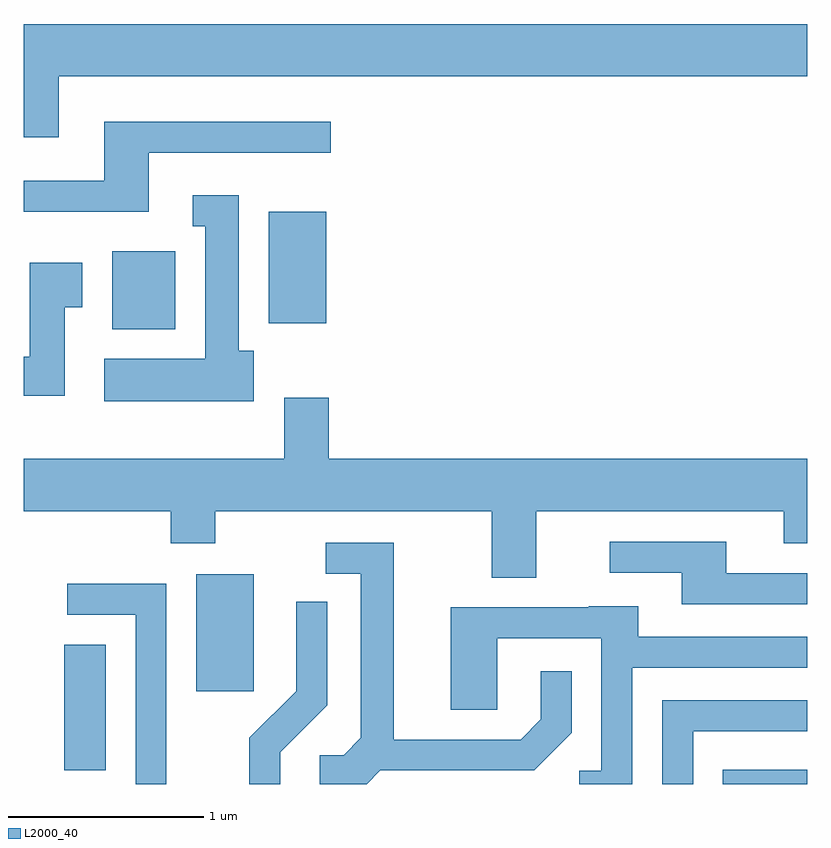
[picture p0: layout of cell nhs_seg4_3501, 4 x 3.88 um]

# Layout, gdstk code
import gdstk
lib = gdstk.Library(unit=1e-6, precision=1e-09)
def R(c, l, rs):  # rectangles x0, y0, x1, y1
    for r in rs: c.add(gdstk.rectangle(r[:2], r[2:], *l))
def P(c, l, *ps):  # polygons
    for p in ps: c.add(gdstk.Polygon(p, *l))
L2000_40 = (2000, 40)

nhs_seg4_3501 = lib.new_cell('nhs_seg4_3501')
R(nhs_seg4_3501, L2000_40, [(291.181,1319.982,291.611,1320.054), (287.816,1320.051,288.029,1320.694), (288.491,1320.456,288.784,1321.054), (288.061,1322.306,288.384,1322.704), (288.861,1322.336,289.154,1322.904)])
P(nhs_seg4_3501, L2000_40, [(287.789,1323.596),(291.611,1323.596),(291.611,1323.864),(287.611,1323.864),(287.611,1323.286),(287.789,1323.286)],
  [(288.249,1323.206),(289.178,1323.206),(289.178,1323.364),(288.021,1323.364),(288.021,1323.064),(287.611,1323.064),(287.611,1322.906),(288.249,1322.906)],
  [(288.784,1322.194),(288.709,1322.194),(288.709,1322.989),(288.473,1322.989),(288.473,1322.831),(288.536,1322.831),(288.536,1322.154),(288.021,1322.154),(288.021,1321.936),(288.784,1321.936)],
  [(287.819,1322.416),(287.909,1322.416),(287.909,1322.644),(287.641,1322.644),(287.641,1322.164),(287.611,1322.164),(287.611,1321.966),(287.819,1321.966)],
  [(290.229,1321.376),(291.491,1321.376),(291.491,1321.211),(291.611,1321.211),(291.611,1321.644),(289.169,1321.644),(289.169,1321.954),(288.941,1321.954),(288.941,1321.644),(287.611,1321.644),(287.611,1321.376),(288.361,1321.376),(288.361,1321.211),(288.589,1321.211),(288.589,1321.376),(290.001,1321.376),(290.001,1321.036),(290.229,1321.036)],
  [(291.611,1321.059),(291.199,1321.059),(291.199,1321.219),(290.603,1321.219),(290.603,1321.061),(290.971,1321.061),(290.971,1320.901),(291.611,1320.901)],
  [(289.432,1320.051),(290.217,1320.051),(290.409,1320.244),(290.409,1320.558),(290.251,1320.558),(290.251,1320.312),(290.149,1320.209),(289.499,1320.209),(289.499,1321.214),(289.153,1321.214),(289.153,1321.056),(289.331,1321.056),(289.331,1320.217),(289.244,1320.129),(289.123,1320.129),(289.123,1319.982),(289.363,1319.982)],
  [(288.339,1321.004),(287.833,1321.004),(287.833,1320.846),(288.181,1320.846),(288.181,1319.982),(288.339,1319.982)],
  [(288.919,1320.144),(289.159,1320.384),(289.159,1320.913),(289.001,1320.913),(289.001,1320.457),(288.761,1320.217),(288.761,1319.982),(288.919,1319.982)],
  [(290.719,1320.576),(291.611,1320.576),(291.611,1320.734),(290.749,1320.734),(290.749,1320.889),(290.495,1320.889),(290.495,1320.884),(289.791,1320.884),(289.791,1320.361),(290.029,1320.361),(290.029,1320.726),(290.561,1320.726),(290.561,1320.049),(290.448,1320.049),(290.448,1319.982),(290.719,1319.982)],
  [(291.029,1320.251),(291.611,1320.251),(291.611,1320.409),(290.871,1320.409),(290.871,1319.982),(291.029,1319.982)])

lib.write_gds('nhs_seg4_3501.gds')
